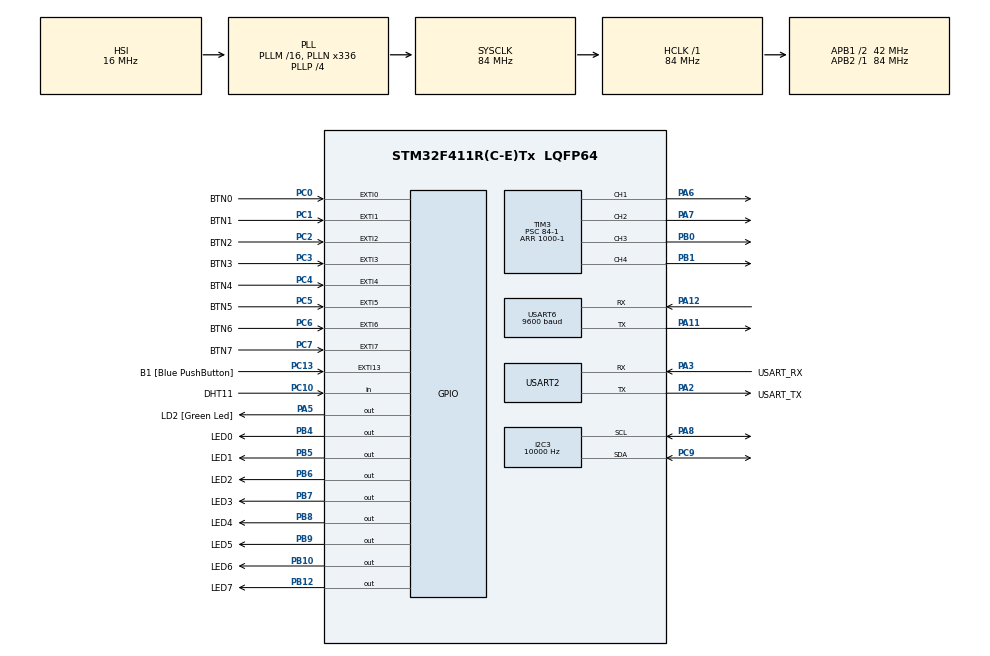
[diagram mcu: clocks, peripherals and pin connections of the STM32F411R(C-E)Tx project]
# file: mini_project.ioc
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I2C3.ClockSpeed=10000
Mcu.Family=STM32F4
Mcu.Name=STM32F411R(C-E)Tx
Mcu.Package=LQFP64
NVIC.EXTI0_IRQn=true\:0\:0\:false\:false\:true\:true\:true\:true
NVIC.EXTI15_10_IRQn=true\:0\:0\:false\:false\:true\:true\:true\:true
NVIC.EXTI1_IRQn=true\:0\:0\:false\:false\:true\:true\:true\:true
NVIC.EXTI2_IRQn=true\:0\:0\:false\:false\:true\:true\:true\:true
NVIC.EXTI3_IRQn=true\:0\:0\:false\:false\:true\:true\:true\:true
NVIC.EXTI4_IRQn=true\:0\:0\:false\:false\:true\:true\:true\:true
NVIC.EXTI9_5_IRQn=true\:0\:0\:false\:false\:true\:true\:true\:true
NVIC.PriorityGroup=NVIC_PRIORITYGROUP_0
NVIC.TIM3_IRQn=true\:0\:0\:false\:false\:true\:true\:true\:true
NVIC.USART2_IRQn=true\:0\:0\:false\:false\:true\:true\:true\:true
NVIC.USART6_IRQn=true\:0\:0\:false\:false\:true\:true\:true\:true
PA11.Mode=Asynchronous
PA11.Signal=USART6_TX
PA12.Mode=Asynchronous
PA12.Signal=USART6_RX
PA13.GPIO_Label=TMS
PA13.Mode=Serial_Wire
PA13.Signal=SYS_JTMS-SWDIO
PA14.GPIO_Label=TCK
PA14.Mode=Serial_Wire
PA14.Signal=SYS_JTCK-SWCLK
PA2.GPIO_Label=USART_TX
PA2.Mode=Asynchronous
PA2.Signal=USART2_TX
PA3.GPIO_Label=USART_RX
PA3.Mode=Asynchronous
PA3.Signal=USART2_RX
PA5.GPIO_Label=LD2 [Green Led]
PA5.Signal=GPIO_Output
PA6.Signal=S_TIM3_CH1
PA7.Signal=S_TIM3_CH2
PA8.Mode=I2C
PA8.Signal=I2C3_SCL
PB0.Signal=S_TIM3_CH3
PB1.Signal=S_TIM3_CH4
PB10.GPIO_Label=LED6
PB10.Signal=GPIO_Output
PB12.GPIO_Label=LED7
PB12.Signal=GPIO_Output
PB3.GPIO_Label=SWO
PB3.Signal=SYS_JTDO-SWO
PB4.GPIO_Label=LED0
PB4.Signal=GPIO_Output
PB5.GPIO_Label=LED1
PB5.Signal=GPIO_Output
PB6.GPIO_Label=LED2
PB6.Signal=GPIO_Output
PB7.GPIO_Label=LED3
PB7.Signal=GPIO_Output
PB8.GPIO_Label=LED4
PB8.Signal=GPIO_Output
PB9.GPIO_Label=LED5
PB9.Signal=GPIO_Output
PC0.GPIO_Label=BTN0
PC0.Signal=GPXTI0
PC1.GPIO_Label=BTN1
PC1.Signal=GPXTI1
PC10.GPIO_Label=DHT11
PC10.Signal=GPIO_Input
PC13-ANTI_TAMP.GPIO_Label=B1 [Blue PushButton]
PC13-ANTI_TAMP.GPIO_ModeDefaultEXTI=GPIO_MODE_IT_FALLING
PC13-ANTI_TAMP.Signal=GPXTI13
PC14-OSC32_IN.Signal=RCC_OSC32_IN
PC15-OSC32_OUT.Signal=RCC_OSC32_OUT
PC2.GPIO_Label=BTN2
PC2.Signal=GPXTI2
PC3.GPIO_Label=BTN3
PC3.Signal=GPXTI3
PC4.GPIO_Label=BTN4
PC4.Signal=GPXTI4
PC5.GPIO_Label=BTN5
PC5.Signal=GPXTI5
PC6.GPIO_Label=BTN6
PC6.Signal=GPXTI6
PC7.GPIO_Label=BTN7
PC7.Signal=GPXTI7
PC9.Mode=I2C
PC9.Signal=I2C3_SDA
PH0\ -\ OSC_IN.Signal=RCC_OSC_IN
PH1\ -\ OSC_OUT.Signal=RCC_OSC_OUT
ProjectManager.HeapSize=0x200
ProjectManager.StackSize=0x400
ProjectManager.TargetToolchain=STM32CubeIDE
RCC.48MHZClocksFreq_Value=84000000
RCC.AHBFreq_Value=84000000
RCC.APB1CLKDivider=RCC_HCLK_DIV2
RCC.APB1Freq_Value=42000000
RCC.APB1TimFreq_Value=84000000
RCC.APB2Freq_Value=84000000
RCC.APB2TimFreq_Value=84000000
RCC.CortexFreq_Value=84000000
RCC.FLatency-AdvancedSettings=FLASH_LATENCY_2
RCC.HCLKFreq_Value=84000000
RCC.HSE_VALUE=8000000
RCC.HSI_VALUE=16000000
RCC.LSE_VALUE=32768
RCC.PLLN=336
RCC.PLLP=RCC_PLLP_DIV4
RCC.SYSCLKFreq_VALUE=84000000
RCC.SYSCLKSource=RCC_SYSCLKSOURCE_PLLCLK
RCC.VCOOutputFreq_Value=336000000
SH.S_TIM3_CH1.0=TIM3_CH1,PWM Generation1 CH1
SH.S_TIM3_CH2.0=TIM3_CH2,PWM Generation2 CH2
SH.S_TIM3_CH3.0=TIM3_CH3,PWM Generation3 CH3
SH.S_TIM3_CH4.0=TIM3_CH4,PWM Generation4 CH4
TIM3.AutoReloadPreload=TIM_AUTORELOAD_PRELOAD_ENABLE
TIM3.Channel-PWM\ Generation1\ CH1=TIM_CHANNEL_1
TIM3.Channel-PWM\ Generation2\ CH2=TIM_CHANNEL_2
TIM3.Channel-PWM\ Generation3\ CH3=TIM_CHANNEL_3
TIM3.Channel-PWM\ Generation4\ CH4=TIM_CHANNEL_4
TIM3.Period=1000-1
TIM3.Prescaler=84-1
USART2.VirtualMode=VM_ASYNC
USART6.BaudRate=9600
USART6.VirtualMode=VM_ASYNC
VP_TIM3_VS_ClockSourceINT.Mode=Internal
board=NUCLEO-F411RE

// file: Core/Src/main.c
/* USER CODE BEGIN Header */
/**
  ******************************************************************************
  * @file           : main.c
  * @brief          : Main program body
  ******************************************************************************
  * @attention
  *
  * Copyright (c) 2025 STMicroelectronics.
  * All rights reserved.
  *
  * This software is licensed under terms that can be found in the LICENSE file
  * in the root directory of this software component.
  * If no LICENSE file comes with this software, it is provided AS-IS.
  *
  ******************************************************************************
  */
/* USER CODE END Header */
#include "main.h"

/* USER CODE BEGIN Includes */
#include <stdio.h>
#include <string.h>
#include "clcd.h"
#include "dht.h"
/* USER CODE END Includes */

/* USER CODE BEGIN PD */
#ifdef __GNUC__
/* With GCC, small printf (option LD Linker->Libraries->Small printf
   set to 'Yes') calls __io_putchar() */
#define PUTCHAR_PROTOTYPE int __io_putchar(int ch)
#else
#define PUTCHAR_PROTOTYPE int fputc(int ch, FILE *f)
#endif /* __GNUC__ */

#define ARR_CNT 10
#define CMD_SIZE 50

/* USER CODE END PD */

I2C_HandleTypeDef hi2c3;

TIM_HandleTypeDef htim3;

UART_HandleTypeDef huart2;
UART_HandleTypeDef huart6;

/* USER CODE BEGIN PV */

volatile int keyNo;

volatile int time3SecFlag = 1;
volatile int time3Cnt = 0;
volatile int time3SecCnt = 0;
volatile int seatFlag = 0;
uint8_t rx2char;
volatile unsigned char rx2Flag = 0;
volatile char rx2Data[50];
volatile unsigned char btFlag = 0;
uint8_t btchar;
char btData[50];
/* USER CODE END PV */

void SystemClock_Config(void);
static void MX_GPIO_Init(void);
static void MX_USART2_UART_Init(void);
static void MX_I2C3_Init(void);
static void MX_USART6_UART_Init(void);
static void MX_TIM3_Init(void);
/* USER CODE BEGIN PFP */
void bluetooth_Event();
long map(long x, long in_min, long in_max, long out_min, long out_max);
void set_rgb_led(int red, int green, int blue);
/* USER CODE END PFP */

int main(void)
{

  /* USER CODE BEGIN 1 */

	int buttonstate[7] = {0};
	//int buttonFlag = 0;
	int buttonStateOld[7] = {0};
	int cnt = 0;
	int i = 0;

	char lcd_buffer1[17];
	char lcd_buffer2[17];

	char buff[30];
	int pluse = 500;
	int red = 100;
	int green = 100;
	int blue = 100;
  /* USER CODE END 1 */

  /* MCU Configuration--------------------------------------------------------*/

  /* Reset of all peripherals, Initializes the Flash interface and the Systick. */
  HAL_Init();

  /* Configure the system clock */
  SystemClock_Config();

  /* Initialize all configured peripherals */
  MX_GPIO_Init();
  MX_USART2_UART_Init();
  MX_I2C3_Init();
  MX_USART6_UART_Init();
  MX_TIM3_Init();
  /* USER CODE BEGIN 2 */
  HAL_UART_Receive_IT(&huart2, &rx2char,1);
  HAL_UART_Receive_IT(&huart6, &btchar,1);
  DHT11_Init();
  LCD_init(&hi2c3);

  DHT11_TypeDef dht11Data;
  char buff_button[30];
  char buff_dht[30];
  char btn_send_message[50] = {0};

  LCD_init(&hi2c3);
  LCD_writeStringXY(0, 0, "hello lcd");

  if(HAL_TIM_Base_Start_IT(&htim3) != HAL_OK) //timer3 start
	  Error_Handler();

  if(HAL_TIM_PWM_Start(&htim3, TIM_CHANNEL_1) != HAL_OK)
    {
  	  Error_Handler();
    }
    __HAL_TIM_SetCompare(&htim3,TIM_CHANNEL_1,(pluse-1)<0?0:pluse-1);

    __HAL_TIM_SetCompare(&htim3,TIM_CHANNEL_2,(red-1)<0?0:red-1);
    __HAL_TIM_SetCompare(&htim3,TIM_CHANNEL_3,(green-1)<0?0:green-1);
    __HAL_TIM_SetCompare(&htim3,TIM_CHANNEL_4,(blue-1)<0?0:blue-1);
    if(HAL_TIM_PWM_Start(&htim3, TIM_CHANNEL_2) != HAL_OK)
    {
  	  Error_Handler();
    }
    if(HAL_TIM_PWM_Start(&htim3, TIM_CHANNEL_3) != HAL_OK)
    {
  	  Error_Handler();
    }
    if(HAL_TIM_PWM_Start(&htim3, TIM_CHANNEL_4) != HAL_OK)
    {
  	  Error_Handler();
    }

  printf("main() start!\r\n");
  /* USER CODE END 2 */

  /* Infinite loop */
  /* USER CODE BEGIN WHILE */
  while (1)
  {
	  if(rx2Flag)
	  {
			printf("recv2 : %s\r\n",rx2Data);
			rx2Flag =0;
	//	    HAL_UART_Transmit(&huart6, (uint8_t *)buf, strlen(buf), 0xFFFF);
	  }
	  if(btFlag)
	  {
	  //		printf("bt : %s\r\n",btData);
		  btFlag =0;
		  bluetooth_Event();
	  }
	  if(time3SecFlag) {
#if 0
		  sprintf(buff, "DATE: %s", "2025-06-02"); //16
		   printf("%s\r\n", buff);
		  LCD_writeStringXY(0,0,buff);
		  sprintf(buff, "Seat no:  %s","1"); //11
		   printf("%s\r\n", buff);
		  LCD_writeStringXY(1,0,buff);
		  HAL_Delay(5000);

		  sprintf(buff, " Using  %s", "00:00:00"); //15
		   printf("%s\r\n", buff);
		  LCD_writeStringXY(0,0,buff);
		  sprintf(buff, " Study  %s", "00:00:00"); //15
		  printf("%s\r\n", buff);
		  LCD_writeStringXY(1,0,buff);
#endif
#if 1

		  /*
	     //문자열 치환
	      char send_UsingTime[16];
	      strcpy(send_UsingTime, UsingTime);   //send_UsingTime <- UsingTime 복사
	      char *Using = strstr(send_UsingTime, ":");
	      while (Using != NULL)
	      {
	        Using = strstr(send_UsingTime+1, ":");
	        strncpy(Using, "\-", 1);
	      }
	        Serial.print("send_UsingTime: ");//test
	        Serial.println(send_UsingTime);//test
	        */

	     char Origin[9] = "12-34-56";
	     //char Using[9];
		 //strcpy(Using, Origin);   //send_UsingTime <- UsingTime 복사
		 char *Using = strstr(Origin, "-");
		 while (Using != NULL)
		 {
			 Using = strstr(Origin+1, "-");
			 strncpy(Using, "\:",1);
		 }
		 //printf("Using : %s\r\n", Using);

		 sprintf(buff, " Using  %s", Origin); //15
		  printf("%s\r\n", buff);
		 LCD_writeStringXY(0,0,buff);

//		 sprintf(lcdbuff, " Study  %s", pArray[6]); //15
//		 printf("%s\r\n", lcdbuff);
//		 LCD_writeStringXY(1,0,lcdbuff);
		 HAL_Delay(5000);
#endif

	  	  dht11Data = DHT11_readData();
	  	  sprintf(buff,"h: %d%% t: %d.%d'C", dht11Data.rh_byte1, dht11Data.temp_byte1, dht11Data.temp_byte2);
	  	  sprintf(buff_dht,"[CSB_LIN]humi@%d@temp@%d.%d\r\n", dht11Data.rh_byte1, dht11Data.temp_byte1, dht11Data.temp_byte2);
	  	  //HAL_UART_Transmit(&huart6, (uint8_t *)buff_dht, strlen(buff_dht), 0xFFFF);
	  	  printf("%s\r\n", buff);
	  	  LCD_writeStringXY(0, 0, "LibraryCondition");
	  	  LCD_writeStringXY(1, 0, buff);
	  	  //HAL_Delay(2000);
	  	  time3SecFlag = 0;
	  }
	  if(seatFlag) {
		  sprintf(buff,"[CSB_LIN]REQ@SEAT\r\n");
		  HAL_UART_Transmit(&huart6, (uint8_t *)buff, strlen(buff), 0xFFFF);
		  seatFlag = 0;

	  }
	  if(keyNo != 0)
	  {
		  printf("keyNo : %d\r\n", keyNo);
		  sprintf(buff_button,"[CSB_LIN]BUTTON@%d\n",keyNo);
		  HAL_UART_Transmit(&huart6, (uint8_t *)buff_button, strlen(buff_button), 0xFFFF);
		  keyNo = 0;
	 	  //printf("cnt : %d\r\n", cnt++);
	 	    	//}
	 	  buttonStateOld[i] = buttonstate[i];
	 	  	  //}

	 	  }

	  HAL_Delay(2000);

#if 0
	  dht11Data = DHT11_readData();
	  sprintf(buff,"h: %d%% t: %d.%d'C", dht11Data.rh_byte1, dht11Data.temp_byte1, dht11Data.temp_byte2);
	  printf("%s\r\n", buff);
	  LCD_writeStringXY(1, 0, buff);
	  HAL_Delay(2000);
#endif

	  //set_rgb_led(red, green, blue);

    /* USER CODE END WHILE */

  }
}

void SystemClock_Config(void)
{
  RCC_OscInitTypeDef RCC_OscInitStruct = {0};
  RCC_ClkInitTypeDef RCC_ClkInitStruct = {0};

  /** Configure the main internal regulator output voltage
  */
  __HAL_RCC_PWR_CLK_ENABLE();
  __HAL_PWR_VOLTAGESCALING_CONFIG(PWR_REGULATOR_VOLTAGE_SCALE1);

  /** Initializes the RCC Oscillators according to the specified parameters
  * in the RCC_OscInitTypeDef structure.
  */
  RCC_OscInitStruct.OscillatorType = RCC_OSCILLATORTYPE_HSI;
  RCC_OscInitStruct.HSIState = RCC_HSI_ON;
  RCC_OscInitStruct.HSICalibrationValue = RCC_HSICALIBRATION_DEFAULT;
  RCC_OscInitStruct.PLL.PLLState = RCC_PLL_ON;
  RCC_OscInitStruct.PLL.PLLSource = RCC_PLLSOURCE_HSI;
  RCC_OscInitStruct.PLL.PLLM = 16;
  RCC_OscInitStruct.PLL.PLLN = 336;
  RCC_OscInitStruct.PLL.PLLP = RCC_PLLP_DIV4;
  RCC_OscInitStruct.PLL.PLLQ = 4;
  if (HAL_RCC_OscConfig(&RCC_OscInitStruct) != HAL_OK)
  {
    Error_Handler();
  }

  /** Initializes the CPU, AHB and APB buses clocks
  */
  RCC_ClkInitStruct.ClockType = RCC_CLOCKTYPE_HCLK|RCC_CLOCKTYPE_SYSCLK
                              |RCC_CLOCKTYPE_PCLK1|RCC_CLOCKTYPE_PCLK2;
  RCC_ClkInitStruct.SYSCLKSource = RCC_SYSCLKSOURCE_PLLCLK;
  RCC_ClkInitStruct.AHBCLKDivider = RCC_SYSCLK_DIV1;
  RCC_ClkInitStruct.APB1CLKDivider = RCC_HCLK_DIV2;
  RCC_ClkInitStruct.APB2CLKDivider = RCC_HCLK_DIV1;

  if (HAL_RCC_ClockConfig(&RCC_ClkInitStruct, FLASH_LATENCY_2) != HAL_OK)
  {
    Error_Handler();
  }
}

static void MX_I2C3_Init(void)
{

  hi2c3.Instance = I2C3;
  hi2c3.Init.ClockSpeed = 10000;
  hi2c3.Init.DutyCycle = I2C_DUTYCYCLE_2;
  hi2c3.Init.OwnAddress1 = 0;
  hi2c3.Init.AddressingMode = I2C_ADDRESSINGMODE_7BIT;
  hi2c3.Init.DualAddressMode = I2C_DUALADDRESS_DISABLE;
  hi2c3.Init.OwnAddress2 = 0;
  hi2c3.Init.GeneralCallMode = I2C_GENERALCALL_DISABLE;
  hi2c3.Init.NoStretchMode = I2C_NOSTRETCH_DISABLE;
  if (HAL_I2C_Init(&hi2c3) != HAL_OK)
  {
    Error_Handler();
  }

}

static void MX_TIM3_Init(void)
{

  TIM_ClockConfigTypeDef sClockSourceConfig = {0};
  TIM_MasterConfigTypeDef sMasterConfig = {0};
  TIM_OC_InitTypeDef sConfigOC = {0};

  htim3.Instance = TIM3;
  htim3.Init.Prescaler = 84-1;
  htim3.Init.CounterMode = TIM_COUNTERMODE_UP;
  htim3.Init.Period = 1000-1;
  htim3.Init.ClockDivision = TIM_CLOCKDIVISION_DIV1;
  htim3.Init.AutoReloadPreload = TIM_AUTORELOAD_PRELOAD_ENABLE;
  if (HAL_TIM_Base_Init(&htim3) != HAL_OK)
  {
    Error_Handler();
  }
  sClockSourceConfig.ClockSource = TIM_CLOCKSOURCE_INTERNAL;
  if (HAL_TIM_ConfigClockSource(&htim3, &sClockSourceConfig) != HAL_OK)
  {
    Error_Handler();
  }
  if (HAL_TIM_PWM_Init(&htim3) != HAL_OK)
  {
    Error_Handler();
  }
  sMasterConfig.MasterOutputTrigger = TIM_TRGO_RESET;
  sMasterConfig.MasterSlaveMode = TIM_MASTERSLAVEMODE_DISABLE;
  if (HAL_TIMEx_MasterConfigSynchronization(&htim3, &sMasterConfig) != HAL_OK)
  {
    Error_Handler();
  }
  sConfigOC.OCMode = TIM_OCMODE_PWM1;
  sConfigOC.Pulse = 0;
  sConfigOC.OCPolarity = TIM_OCPOLARITY_HIGH;
  sConfigOC.OCFastMode = TIM_OCFAST_DISABLE;
  if (HAL_TIM_PWM_ConfigChannel(&htim3, &sConfigOC, TIM_CHANNEL_1) != HAL_OK)
  {
    Error_Handler();
  }
  if (HAL_TIM_PWM_ConfigChannel(&htim3, &sConfigOC, TIM_CHANNEL_2) != HAL_OK)
  {
    Error_Handler();
  }
  if (HAL_TIM_PWM_ConfigChannel(&htim3, &sConfigOC, TIM_CHANNEL_3) != HAL_OK)
  {
    Error_Handler();
  }
  if (HAL_TIM_PWM_ConfigChannel(&htim3, &sConfigOC, TIM_CHANNEL_4) != HAL_OK)
  {
    Error_Handler();
  }
  HAL_TIM_MspPostInit(&htim3);

}

static void MX_USART2_UART_Init(void)
{

  huart2.Instance = USART2;
  huart2.Init.BaudRate = 115200;
  huart2.Init.WordLength = UART_WORDLENGTH_8B;
  huart2.Init.StopBits = UART_STOPBITS_1;
  huart2.Init.Parity = UART_PARITY_NONE;
  huart2.Init.Mode = UART_MODE_TX_RX;
  huart2.Init.HwFlowCtl = UART_HWCONTROL_NONE;
  huart2.Init.OverSampling = UART_OVERSAMPLING_16;
  if (HAL_UART_Init(&huart2) != HAL_OK)
  {
    Error_Handler();
  }

}

static void MX_USART6_UART_Init(void)
{

  huart6.Instance = USART6;
  huart6.Init.BaudRate = 9600;
  huart6.Init.WordLength = UART_WORDLENGTH_8B;
  huart6.Init.StopBits = UART_STOPBITS_1;
  huart6.Init.Parity = UART_PARITY_NONE;
  huart6.Init.Mode = UART_MODE_TX_RX;
  huart6.Init.HwFlowCtl = UART_HWCONTROL_NONE;
  huart6.Init.OverSampling = UART_OVERSAMPLING_16;
  if (HAL_UART_Init(&huart6) != HAL_OK)
  {
    Error_Handler();
  }

}

static void MX_GPIO_Init(void)
{
  GPIO_InitTypeDef GPIO_InitStruct = {0};

  /* GPIO Ports Clock Enable */
  __HAL_RCC_GPIOC_CLK_ENABLE();
  __HAL_RCC_GPIOH_CLK_ENABLE();
  __HAL_RCC_GPIOA_CLK_ENABLE();
  __HAL_RCC_GPIOB_CLK_ENABLE();

  /*Configure GPIO pin Output Level */
  HAL_GPIO_WritePin(LD2_GPIO_Port, LD2_Pin, GPIO_PIN_RESET);

  /*Configure GPIO pin Output Level */
  HAL_GPIO_WritePin(GPIOB, LED6_Pin|LED7_Pin|LED0_Pin|LED1_Pin
                          |LED2_Pin|LED3_Pin|LED4_Pin|LED5_Pin, GPIO_PIN_RESET);

  /*Configure GPIO pin : B1_Pin */
  GPIO_InitStruct.Pin = B1_Pin;
  GPIO_InitStruct.Mode = GPIO_MODE_IT_FALLING;
  GPIO_InitStruct.Pull = GPIO_NOPULL;
  HAL_GPIO_Init(B1_GPIO_Port, &GPIO_InitStruct);

  /*Configure GPIO pins : BTN0_Pin BTN1_Pin BTN2_Pin BTN3_Pin
                           BTN4_Pin BTN5_Pin BTN6_Pin BTN7_Pin */
  GPIO_InitStruct.Pin = BTN0_Pin|BTN1_Pin|BTN2_Pin|BTN3_Pin
                          |BTN4_Pin|BTN5_Pin|BTN6_Pin|BTN7_Pin;
  GPIO_InitStruct.Mode = GPIO_MODE_IT_RISING;
  GPIO_InitStruct.Pull = GPIO_NOPULL;
  HAL_GPIO_Init(GPIOC, &GPIO_InitStruct);

  /*Configure GPIO pin : LD2_Pin */
  GPIO_InitStruct.Pin = LD2_Pin;
  GPIO_InitStruct.Mode = GPIO_MODE_OUTPUT_PP;
  GPIO_InitStruct.Pull = GPIO_NOPULL;
  GPIO_InitStruct.Speed = GPIO_SPEED_FREQ_LOW;
  HAL_GPIO_Init(LD2_GPIO_Port, &GPIO_InitStruct);

  /*Configure GPIO pins : LED6_Pin LED7_Pin LED0_Pin LED1_Pin
                           LED2_Pin LED3_Pin LED4_Pin LED5_Pin */
  GPIO_InitStruct.Pin = LED6_Pin|LED7_Pin|LED0_Pin|LED1_Pin
                          |LED2_Pin|LED3_Pin|LED4_Pin|LED5_Pin;
  GPIO_InitStruct.Mode = GPIO_MODE_OUTPUT_PP;
  GPIO_InitStruct.Pull = GPIO_NOPULL;
  GPIO_InitStruct.Speed = GPIO_SPEED_FREQ_LOW;
  HAL_GPIO_Init(GPIOB, &GPIO_InitStruct);

  /*Configure GPIO pin : DHT11_Pin */
  GPIO_InitStruct.Pin = DHT11_Pin;
  GPIO_InitStruct.Mode = GPIO_MODE_INPUT;
  GPIO_InitStruct.Pull = GPIO_NOPULL;
  HAL_GPIO_Init(DHT11_GPIO_Port, &GPIO_InitStruct);

  /* EXTI interrupt init*/
  HAL_NVIC_SetPriority(EXTI0_IRQn, 0, 0);
  HAL_NVIC_EnableIRQ(EXTI0_IRQn);

  HAL_NVIC_SetPriority(EXTI1_IRQn, 0, 0);
  HAL_NVIC_EnableIRQ(EXTI1_IRQn);

  HAL_NVIC_SetPriority(EXTI2_IRQn, 0, 0);
  HAL_NVIC_EnableIRQ(EXTI2_IRQn);

  HAL_NVIC_SetPriority(EXTI3_IRQn, 0, 0);
  HAL_NVIC_EnableIRQ(EXTI3_IRQn);

  HAL_NVIC_SetPriority(EXTI4_IRQn, 0, 0);
  HAL_NVIC_EnableIRQ(EXTI4_IRQn);

  HAL_NVIC_SetPriority(EXTI9_5_IRQn, 0, 0);
  HAL_NVIC_EnableIRQ(EXTI9_5_IRQn);

  HAL_NVIC_SetPriority(EXTI15_10_IRQn, 0, 0);
  HAL_NVIC_EnableIRQ(EXTI15_10_IRQn);

}

/* USER CODE BEGIN 4 */
void bluetooth_Event()
{

  int i=0;
  int Red,Green,Blue,seat_num = 0;
  char lcdbuff[17];
  int seat_no = 0;

  char * pToken;
  char * pArray[ARR_CNT]={0};
  char recvBuf[CMD_SIZE]={0};
  char sendBuf[CMD_SIZE]={0};
  strcpy(recvBuf,btData);

  printf("btData : %s\r\n",btData);

  pToken = strtok(recvBuf,"[@]");
  while(pToken != NULL)
  {
    pArray[i] =  pToken;
    if(++i >= ARR_CNT)
      break;
    pToken = strtok(NULL,"[@]");
  }
//  printf("pArray[0] : %s\r\n",pArray[0]);
//  printf("pArray[1] : %s\r\n",pArray[1]);
//  printf("pArray[2] : %s\r\n",pArray[2]);
  if(!strcmp(pArray[1],"LED"))
  {
		if(!strcmp(pArray[2],"ON"))
		{
			//MX_GPIO_LED_ON(LD2_Pin);
		}
		else if(!strcmp(pArray[2],"OFF"))
		{
			//MX_GPIO_LED_OFF(LD2_Pin);
		}
  }
  else if(!strcmp(pArray[1],"LAMP"))
  {
		if(!strcmp(pArray[2],"ON"))
		{
			///MX_GPIO_TEST_LED_ON(TEST_LED_Pin);	//PC12 High
		}
		else if(!strcmp(pArray[2],"OFF"))
		{
			///MX_GPIO_TEST_LED_OFF(TEST_LED_Pin);	//PC12 Low
		}
  }
  else if(!strncmp(pArray[1]," New conn",sizeof(" New conn")))
  {
      return;
  }
  else if(!strncmp(pArray[1]," Already log",sizeof(" Already log")))
  {
      return;
  }
  else if(!strcmp(pArray[1],"SEAT"))
  {
	    if(!strcmp(pArray[2],"1"))
	    	HAL_GPIO_WritePin(LED0_GPIO_Port,LED0_Pin,SET);
	    else
	    	HAL_GPIO_WritePin(LED0_GPIO_Port,LED0_Pin,RESET);
	    if(!strcmp(pArray[3],"1"))
	    	    	HAL_GPIO_WritePin(LED1_GPIO_Port,LED1_Pin,SET);
	    	    else
	    	    	HAL_GPIO_WritePin(LED1_GPIO_Port,LED1_Pin,RESET);
	    if(!strcmp(pArray[4],"1"))
	    	    	HAL_GPIO_WritePin(LED2_GPIO_Port,LED2_Pin,SET);
	    	    else
	    	    	HAL_GPIO_WritePin(LED2_GPIO_Port,LED2_Pin,RESET);
	    if(!strcmp(pArray[5],"1"))
	    	    	HAL_GPIO_WritePin(LED3_GPIO_Port,LED3_Pin,SET);
	    	    else
	    	    	HAL_GPIO_WritePin(LED3_GPIO_Port,LED3_Pin,RESET);
	    if(!strcmp(pArray[6],"1"))
	    	    	HAL_GPIO_WritePin(LED4_GPIO_Port,LED4_Pin,SET);
	    	    else
	    	    	HAL_GPIO_WritePin(LED4_GPIO_Port,LED4_Pin,RESET);
	    if(!strcmp(pArray[7],"1"))
	    	    	HAL_GPIO_WritePin(LED5_GPIO_Port,LED5_Pin,SET);
	    	    else
	    	    	HAL_GPIO_WritePin(LED5_GPIO_Port,LED5_Pin,RESET);
	    if(!strcmp(pArray[8],"1"))
	    	    	HAL_GPIO_WritePin(LED6_GPIO_Port,LED6_Pin,SET);
	    	    else
	    	    	HAL_GPIO_WritePin(LED6_GPIO_Port,LED6_Pin,RESET);
	    if(!strcmp(pArray[9],"1"))
	    	    	HAL_GPIO_WritePin(LED7_GPIO_Port,LED7_Pin,SET);
	    	    else
	    	    	HAL_GPIO_WritePin(LED7_GPIO_Port,LED7_Pin,RESET);
	    for(int j = 2;j<10;j++)
	    {
	    	if(!strcmp(pArray[j],"0"))
	    		seat_num++;
	    }
	    printf("seat_num : %d\r\n", seat_num);
	    if (seat_num <= 0)
	    {
	    	Red = 100;
	    	Green = 100;
	    	Blue = 100;
	    	set_rgb_led(Red, Green, Blue);
	    }
	    else if (seat_num <= 3)
	    {
	    	Red = 10;
	    	Green = 10;
	    	Blue = 500;
	    	set_rgb_led(Red, Green, Blue);
	    }
	    else if (seat_num <= 7)
	    {
	    	Red = 10;
	    	Green = 500;
	    	Blue = 10;
	    	set_rgb_led(Red, Green, Blue);
	    }
	    else if (seat_num > 7)
	    {
	    	Red = 500;
	    	Green = 10;
	    	Blue = 10;
	    	set_rgb_led(Red, Green, Blue);
	    }
  }

  else if(!strcmp(pArray[1],"D"))
  {
	  //Date = pArray[2];
	  //Using = pArray[4];
	  //Study = pArray[6];
	  //SeatNo = pArray[8];
	  seat_no = atoi(pArray[8]);

	  printf("pArray[4] : %s", pArray[4]);
	  printf("pArray[6] : %s", pArray[6]);

	//Using "-" -> ":"
	 char Using_Org[];
	 strcpy(Using_Org, pArray[4]);
	 Using_Org[9]='\n';
	 char *Using = strstr(Using_Org, "-");
	 while (Using != NULL)
	 {
		 Using = strstr(Using_Org+1, "-");
		 strncpy(Using, "\:",1);
	 }

	//Study "-" -> ":"
	 char Study_Org[];
	 strcpy(Study_Org, pArray[6]);
	 Study_Org[9]='\n';
	 char *Study = strstr(Study_Org, "-");
	 while (Study != NULL)
	 {
		 Study = strstr(Study_Org+1, "-");
		 strncpy(Study, "\:",1);
	 }

#if 1
     sprintf(lcdbuff, "DATE: %s", pArray[2]); //16
      printf("%s\r\n", lcdbuff);
     LCD_writeStringXY(0,0,lcdbuff);
     seat_no = atoi(pArray[8]);
     //seat_no = 1;
     sprintf(lcdbuff, "Seat no:  %d",seat_no); //11
      printf("%s\r\n", lcdbuff);
     LCD_writeStringXY(1,0,lcdbuff);
     HAL_Delay(5000);

     sprintf(lcdbuff, " Using  %s", Using); //15
      printf("%s\r\n", lcdbuff);
     LCD_writeStringXY(0,0,lcdbuff);
     sprintf(lcdbuff, " Study  %s", Study); //15
     printf("%s\r\n", lcdbuff);
     LCD_writeStringXY(1,0,lcdbuff);
     HAL_Delay(5000);
#endif
  }

  else
      return;

}
/**
  * @brief  Retargets the C library printf function to the USART.
  * @param  None
  * @retval None
  */
PUTCHAR_PROTOTYPE
{
  /* Place your implementation of fputc here */
  /* e.g. write a character to the USART6 and Loop until the end of transmission */
  HAL_UART_Transmit(&huart2, (uint8_t *)&ch, 1, 0xFFFF);

  return ch;
}
void HAL_UART_RxCpltCallback(UART_HandleTypeDef *huart)
{
    if(huart->Instance == USART2)
    {
    	static int i=0;
    	rx2Data[i] = rx2char;
    	if((rx2Data[i] == '\r')||(btData[i] == '\n'))
    	{
    		rx2Data[i] = '\0';
    		rx2Flag = 1;
    		i = 0;
    	}
    	else
    	{
    		i++;
    	}
    	HAL_UART_Receive_IT(&huart2, &rx2char,1);
    }
    if(huart->Instance == USART6)
    {
    	static int i=0;
    	btData[i] = btchar;
    	if((btData[i] == '\n') || btData[i] == '\r')
    	{
    		btData[i] = '\0';
    		btFlag = 1;
    		i = 0;
    	}
    	else
    	{
    		i++;
    	}
    	HAL_UART_Receive_IT(&huart6, &btchar,1);
    }
}
void HAL_GPIO_EXTI_Callback(uint16_t GPIO_PIN)
{

	switch(GPIO_PIN)
	{
		case BTN0_Pin :
			keyNo = 1;
			break;
		case BTN1_Pin :
			keyNo = 2;
			break;
		case BTN2_Pin :
			keyNo = 3;
			break;
		case BTN3_Pin :
			keyNo = 4;
			break;
		case BTN4_Pin :
			keyNo = 5;
			break;
		case BTN5_Pin :
			keyNo = 6;
			break;
		case BTN6_Pin :
			keyNo = 7;
			break;
		case BTN7_Pin :
			keyNo = 8;
			break;
		case B1_Pin :
				keyNo = 9;
				break;
	}

	//nucleo보드가 눌러지면 flag_Sw를 1로 설정
	//if( GPIO_PIN == GPIO_PIN_Nucleo_Sw) flag_Sw1 = 1;
	//Sw1이 눌러지면 flag_Sw1을 1로 설정
	//if (GPIO_PIN == GPIO_PIN_Sw1) flag_Sw1 = 1;
}

void HAL_TIM_PeriodElapsedCallback(TIM_HandleTypeDef *htim)
{

	time3Cnt++;
	if(time3Cnt >= 1000) //1ms x 1000 -> 1s
	{
		time3SecFlag = 1;
		time3SecCnt++;
		time3Cnt = 0;
	}
	if(time3SecCnt >= 10)
	{
		seatFlag = 1;
		time3SecCnt = 0;

	}
}
long map(long x, long in_min, long in_max, long out_min, long out_max) {
  return (x - in_min) * (out_max - out_min) / (in_max - in_min) + out_min;
}
void set_rgb_led(int red, int green, int blue)
{
__HAL_TIM_SetCompare(&htim3,TIM_CHANNEL_2,(red-1)<0?0:red-1);
__HAL_TIM_SetCompare(&htim3,TIM_CHANNEL_3,(green-1)<0?0:green-1);
__HAL_TIM_SetCompare(&htim3,TIM_CHANNEL_4,(blue-1)<0?0:blue-1);
}
/* USER CODE END 4 */

void Error_Handler(void)
{
  __disable_irq();
  while (1)
  {
  }
}
